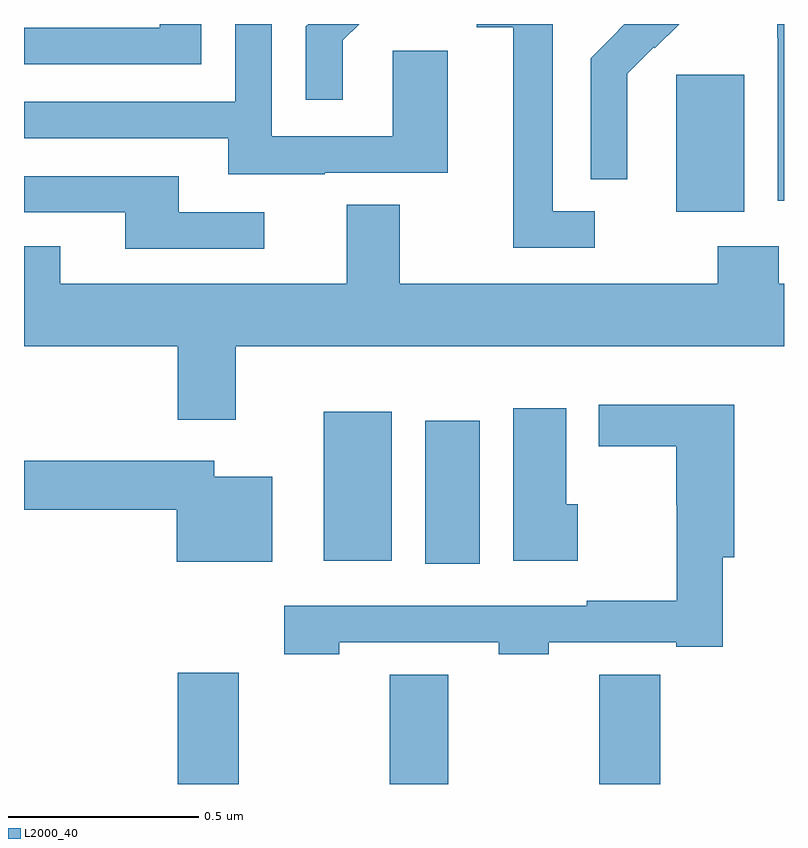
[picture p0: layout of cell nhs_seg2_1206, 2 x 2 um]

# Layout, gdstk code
import gdstk
lib = gdstk.Library(unit=1e-6, precision=1e-09)
def R(c, l, rs):  # rectangles x0, y0, x1, y1
    for r in rs: c.add(gdstk.rectangle(r[:2], r[2:], *l))
def P(c, l, *ps):  # polygons
    for p in ps: c.add(gdstk.Polygon(p, *l))
L2000_40 = (2000, 40)

nhs_seg2_1206 = lib.new_cell('nhs_seg2_1206')
R(nhs_seg2_1206, L2000_40, [(125.405,663.8,125.565,664.093), (125.962,663.8,126.116,664.088), (126.514,663.8,126.674,664.088), (126.056,664.38,126.199,664.756), (125.789,664.388,125.968,664.78), (126.716,665.306,126.895,665.667)])
P(nhs_seg2_1206, L2000_40, [(125.791,665.409),(126.115,665.409),(126.115,665.729),(125.97,665.729),(125.97,665.505),(125.652,665.505),(125.652,665.8),(125.556,665.8),(125.556,665.595),(125,665.595),(125,665.499),(125.537,665.499),(125.537,665.405),(125.791,665.405)],
  [(126.502,665.307),(126.391,665.307),(126.391,665.8),(126.191,665.8),(126.191,665.792),(126.287,665.792),(126.287,665.211),(126.502,665.211)],
  [(125.839,665.757),(125.882,665.8),(125.748,665.8),(125.742,665.794),(125.742,665.601),(125.839,665.601)],
  [(125.466,665.8),(125.357,665.8),(125.357,665.79),(125,665.79),(125,665.694),(125.466,665.694)],
  [(126.588,665.546),(126.587,665.546),(126.587,665.669),(126.657,665.739),(126.66,665.736),(126.724,665.8),(126.58,665.8),(126.564,665.784),(126.565,665.783),(126.492,665.71),(126.492,665.392),(126.588,665.392)],
  [(127,665.8),(126.982,665.8),(126.982,665.764),(126.984,665.764),(126.984,665.335),(127,665.335)],
  [(125.632,665.304),(125.407,665.304),(125.407,665.4),(125,665.4),(125,665.304),(125.267,665.304),(125.267,665.208),(125.632,665.208)],
  [(125.557,664.952),(127,664.952),(127,665.116),(126.986,665.116),(126.986,665.215),(126.826,665.215),(126.826,665.116),(125.989,665.116),(125.989,665.324),(125.849,665.324),(125.849,665.116),(125.095,665.116),(125.095,665.215),(125,665.215),(125,664.952),(125.405,664.952),(125.405,664.758),(125.557,664.758)],
  [(125.829,664.173),(126.249,664.173),(126.249,664.141),(126.381,664.141),(126.381,664.173),(126.716,664.173),(126.716,664.161),(126.839,664.161),(126.839,664.397),(126.869,664.397),(126.869,664.798),(126.513,664.798),(126.513,664.689),(126.716,664.689),(126.716,664.533),(126.718,664.533),(126.718,664.282),(126.481,664.282),(126.481,664.269),(125.685,664.269),(125.685,664.141),(125.829,664.141)],
  [(126.457,664.536),(126.427,664.536),(126.427,664.789),(126.287,664.789),(126.287,664.388),(126.457,664.388)],
  [(125.653,664.609),(125.5,664.609),(125.5,664.651),(125,664.651),(125,664.522),(125.402,664.522),(125.402,664.385),(125.653,664.385)])

lib.write_gds('nhs_seg2_1206.gds')
